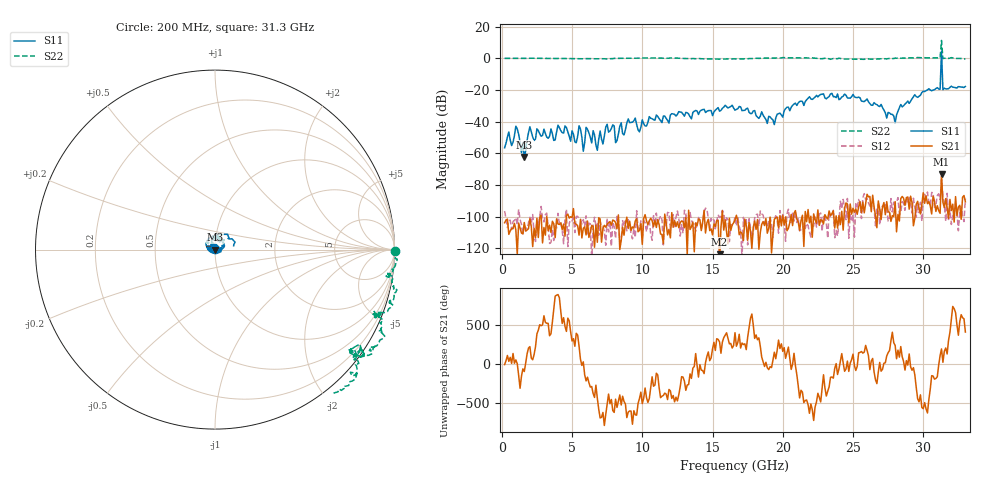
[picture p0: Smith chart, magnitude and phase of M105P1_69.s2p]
# GHZ S RI R 50
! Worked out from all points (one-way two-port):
!   329 points, 200 MHz to 33 GHz, reference 50 ohm
!   highest |S21| = -73.09 dB at 31.3 GHz (marker M1); lowest = -129.3 dB at 15.5 GHz (marker M2)
!   lowest |S11| = -62.4 dB at 1.6 GHz (marker M3), VSWR 1.00, Z = 50 - j0.0751 ohm
!   |S11| at or under -10 dB: start of sweep to 31.24 GHz; 31.36 GHz to end of sweep
!   |S22| runs from -0.6 to 11.4 dB; largest |S21 - S12| = 0.0003
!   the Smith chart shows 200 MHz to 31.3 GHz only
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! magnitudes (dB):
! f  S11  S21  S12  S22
! 200 MHz  -56.5  -103.9  -96.5  0.0
! 1 GHz  -42.8  -108.4  -100.8  0.1
! 1.6 GHz  -62.4  -103.7  -105.4  0.0
! 2 GHz  -43.2  -101.3  -100.4  0.1
! 5.7 GHz  -49.8  -113.4  -104.6  -0.2
! 5.8 GHz  -58.6  -107.4  -101.8  -0.2
! 6 GHz  -43.6  -111.5  -99.5  -0.1
! 6.5 GHz  -45.7  -106.2  -106.3  -0.2
! 6.8 GHz  -58.1  -116.2  -104.4  -0.2
! 7.5 GHz  -41.6  -104.8  -101.1  -0.3
! 8.1 GHz  -53.3  -103.7  -113.7  0.0
! 8.5 GHz  -40.7  -115.0  -114.8  0.0
! 11.2 GHz  -38.0  -105.0  -101.7  0.2
! 15.5 GHz  -33.4  -129.3  -100.6  -0.4
! 16.6 GHz  -32.7  -102.2  -100.0  -0.3
! 19.4 GHz  -41.8  -101.7  -101.7  0.1
! 22.1 GHz  -25.9  -113.0  -106.0  0.3
! 27.6 GHz  -34.4  -97.1  -100.6  0.0
! 31.2 GHz  -19.5  -97.9  -89.2  0.3
! 31.3 GHz  4.6  -73.1  -76.6  11.4
! 31.4 GHz  -19.8  -90.9  -87.3  -0.1
! 33 GHz  -17.7  -90.6  -88.5  -0.3
